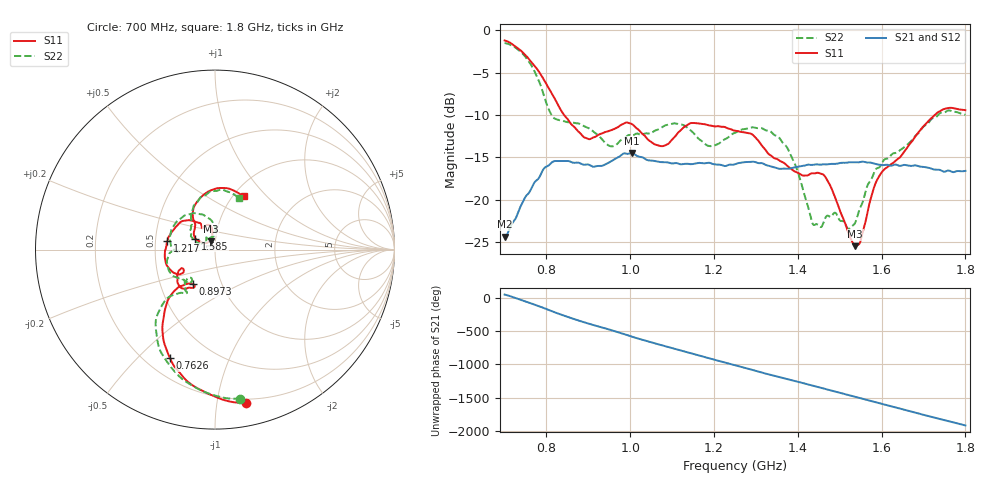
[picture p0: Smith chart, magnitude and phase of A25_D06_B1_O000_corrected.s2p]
! Created with skrf 1.9.0 (http://scikit-rf.org).
# Hz S RI R 50.0
!freq ReS11 ImS11 ReS21 ImS21 ReS12 ImS12 ReS22 ImS22
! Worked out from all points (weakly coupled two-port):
!   1601 points, 700 MHz to 1.8 GHz, reference 50 ohm
!   highest |S21| = -14.50 dB at 1.004 GHz (marker M1); lowest = -24.4 dB at 700.7 MHz (marker M2)
!   lowest |S11| = -25.5 dB at 1.537 GHz (marker M3), VSWR 1.11, Z = 47.4 + j4.49 ohm
!   |S11| at or under -10 dB: 842 MHz to 1.727 GHz (884.7 MHz wide, 68.9 % of centre)
!   |S22| runs from -23.5 to -1.5 dB; largest |S21 - S12| = 0.0035
!   S11 on the Smith chart (normalised r, x): 700 MHz: 0.17, -1.21; 762.6 MHz: 0.30, -0.63; 897.3 MHz: 0.73, -0.30; 1.217 GHz: 0.58, +0.06; 1.585 GHz: 0.80, +0.10; 1.8 GHz: 1.12, +0.75
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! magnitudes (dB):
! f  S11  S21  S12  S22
! 700 MHz  -1.2  -24.4  -24.2  -1.5
! 700.7 MHz  -1.2  -24.4  -24.1  -1.5
! 762.6 MHz  -3.7  -18.8  -18.8  -4.0
! 815.5 MHz  -7.7  -15.5  -15.6  -10.3
! 883.6 MHz  -12.3  -15.8  -15.7  -11.1
! 897.3 MHz  -12.8  -15.8  -15.9  -11.5
! 953.7 MHz  -11.8  -15.5  -15.5  -13.7
! 1.004 GHz  -11.1  -14.5  -14.6  -12.4
! 1.067 GHz  -13.6  -15.5  -15.5  -11.7
! 1.144 GHz  -11.0  -15.8  -15.8  -11.8
! 1.217 GHz  -11.4  -15.9  -15.9  -13.2
! 1.25 GHz  -11.9  -15.8  -15.7  -12.1
! 1.356 GHz  -15.4  -16.4  -16.3  -12.7
! 1.394 GHz  -16.7  -16.2  -16.2  -16.0
! 1.434 GHz  -16.9  -15.9  -15.9  -22.6
! 1.469 GHz  -17.6  -15.8  -15.8  -21.9
! 1.537 GHz  -25.5  -15.6  -15.6  -22.8
! 1.55 GHz  -24.7  -15.5  -15.6  -20.8
! 1.585 GHz  -18.1  -15.8  -15.8  -16.5
! 1.617 GHz  -16.0  -15.9  -15.9  -15.1
! 1.733 GHz  -9.7  -16.5  -16.5  -10.1
! 1.8 GHz  -9.4  -16.6  -16.6  -10.0
